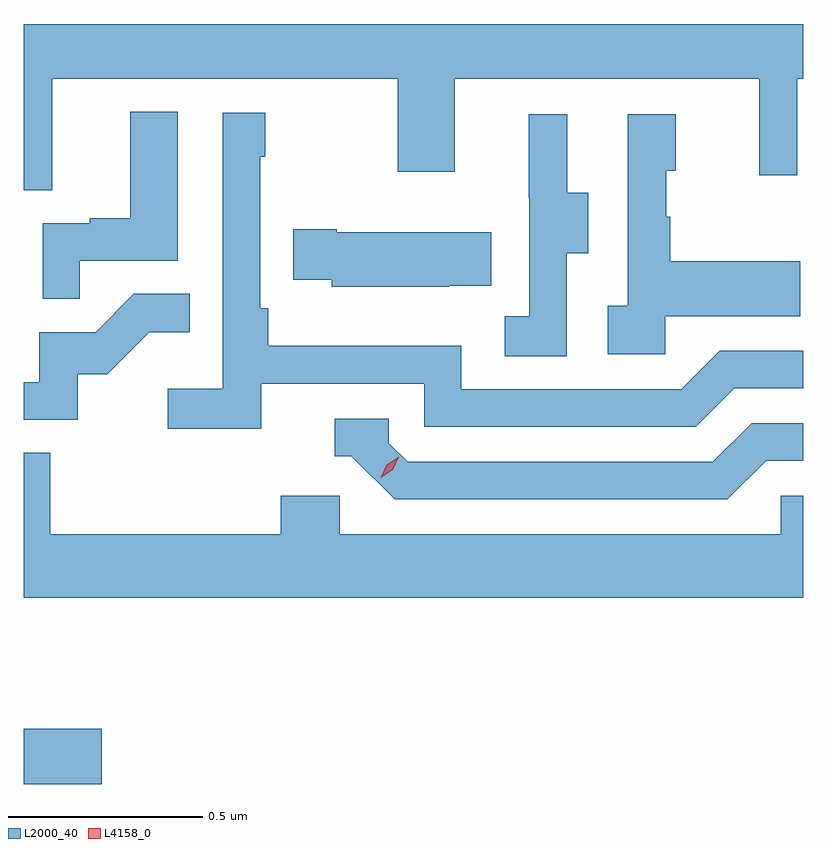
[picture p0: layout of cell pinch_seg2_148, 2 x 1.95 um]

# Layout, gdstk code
import gdstk
lib = gdstk.Library(unit=1e-6, precision=1e-09)
def R(c, l, rs):  # rectangles x0, y0, x1, y1
    for r in rs: c.add(gdstk.rectangle(r[:2], r[2:], *l))
def P(c, l, *ps):  # polygons
    for p in ps: c.add(gdstk.Polygon(p, *l))
L2000_40 = (2000, 40)
L4158_0 = (4158, 0)

pinch_seg2_148 = lib.new_cell('pinch_seg2_148')
R(pinch_seg2_148, L2000_40, [(1106.813,644.495,1107.013,644.637)])
P(pinch_seg2_148, L2000_40, [(1106.887,646.304),(1107.772,646.304),(1107.772,646.065),(1107.919,646.065),(1107.919,646.304),(1108.7,646.304),(1108.7,646.056),(1108.797,646.056),(1108.797,646.304),(1108.813,646.304),(1108.813,646.444),(1106.813,646.444),(1106.813,646.018),(1106.887,646.018)],
  [(1106.957,645.837),(1107.208,645.837),(1107.208,646.219),(1107.086,646.219),(1107.086,645.946),(1106.983,645.946),(1106.983,645.933),(1106.862,645.933),(1106.862,645.739),(1106.957,645.739)],
  [(1107.422,645.522),(1107.84,645.522),(1107.84,645.411),(1108.537,645.411),(1108.636,645.51),(1108.813,645.51),(1108.813,645.606),(1108.599,645.606),(1108.5,645.507),(1107.936,645.507),(1107.936,645.619),(1107.44,645.619),(1107.44,645.715),(1107.42,645.715),(1107.42,646.103),(1107.433,646.103),(1107.433,646.216),(1107.324,646.216),(1107.324,645.508),(1107.183,645.508),(1107.183,645.406),(1107.422,645.406)],
  [(1108.206,645.856),(1108.261,645.856),(1108.261,646.011),(1108.207,646.011),(1108.207,646.213),(1108.109,646.213),(1108.109,645.999),(1108.11,645.999),(1108.11,645.695),(1108.047,645.695),(1108.047,645.592),(1108.206,645.592)],
  [(1108.458,645.695),(1108.805,645.695),(1108.805,645.835),(1108.471,645.835),(1108.471,645.95),(1108.461,645.95),(1108.461,646.068),(1108.486,646.068),(1108.486,646.213),(1108.362,646.213),(1108.362,645.722),(1108.311,645.722),(1108.311,645.597),(1108.458,645.597)],
  [(1107.905,645.773),(1108.013,645.773),(1108.013,645.91),(1107.616,645.91),(1107.616,645.918),(1107.505,645.918),(1107.505,645.788),(1107.603,645.788),(1107.603,645.77),(1107.905,645.77)],
  [(1106.952,645.546),(1107.028,645.546),(1107.135,645.653),(1107.239,645.653),(1107.239,645.752),(1107.096,645.752),(1106.998,645.654),(1106.853,645.654),(1106.853,645.525),(1106.813,645.525),(1106.813,645.429),(1106.952,645.429)],
  [(1108.717,645.324),(1108.813,645.324),(1108.813,645.42),(1108.68,645.42),(1108.581,645.321),(1107.798,645.321),(1107.75,645.369),(1107.75,645.432),(1107.611,645.432),(1107.611,645.336),(1107.654,645.336),(1107.765,645.225),(1108.618,645.225)],
  [(1108.813,645.234),(1108.755,645.234),(1108.755,645.136),(1107.624,645.136),(1107.624,645.234),(1107.473,645.234),(1107.473,645.136),(1106.882,645.136),(1106.882,645.344),(1106.813,645.344),(1106.813,644.972),(1108.813,644.972)])
P(pinch_seg2_148, L4158_0, [(1107.729,645.281),(1107.729,645.281),(1107.745,645.314),(1107.775,645.334),(1107.775,645.334),(1107.775,645.334),(1107.76,645.301),(1107.729,645.281)])

lib.write_gds('pinch_seg2_148.gds')
